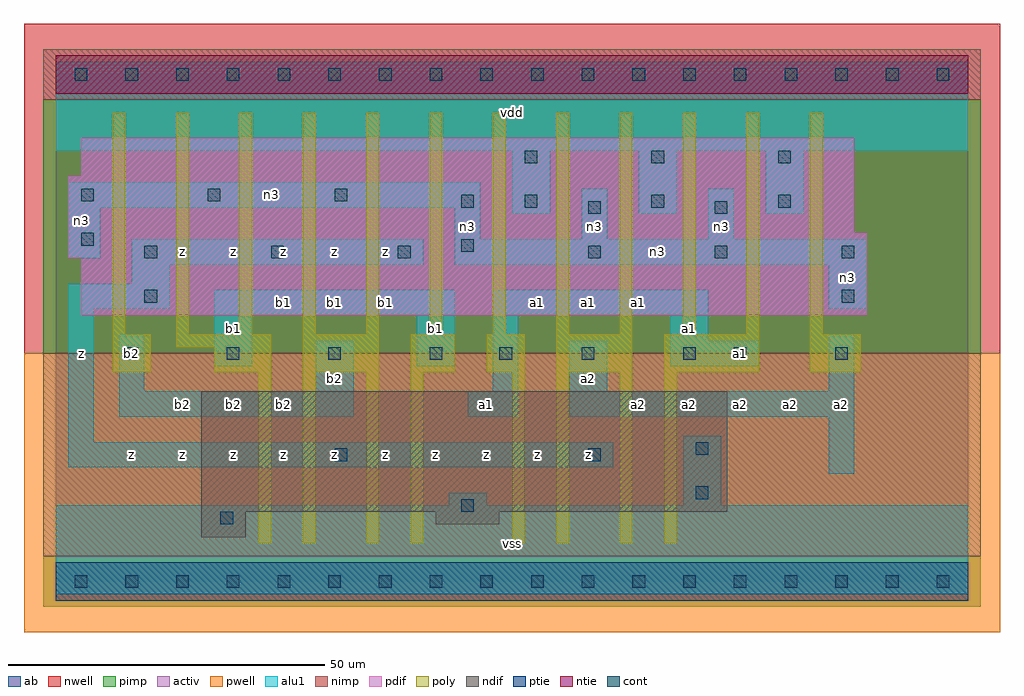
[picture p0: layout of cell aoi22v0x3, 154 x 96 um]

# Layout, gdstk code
import gdstk
lib = gdstk.Library(unit=1e-6, precision=1e-09)
def R(c, l, rs):  # rectangles x0, y0, x1, y1
    for r in rs: c.add(gdstk.rectangle(r[:2], r[2:], *l))
def A(c, l, x, y, w, h, nx, ny, dx, dy):  # array of equal rectangles
    R(c, l, [(x+i*dx, y+j*dy, x+i*dx+w, y+j*dy+h) for i in range(nx) for j in range(ny)])
ndif = (3, 0)
pdif = (4, 0)
ntie = (5, 0)
ptie = (6, 0)
cont = (25, 0)
pwell = (41, 0)
nwell = (42, 0)
activ = (43, 0)
pimp = (44, 0)
nimp = (45, 0)
poly = (46, 0)
alu1 = (49, 0)
ab = (63, 0)

aoi22v0x3 = lib.new_cell('aoi22v0x3')
R(aoi22v0x3, ndif, [(23,7,30,11), (60,9,70,11), (23,11,106,30)])
R(aoi22v0x3, pdif, [(4,42,128,51), (2,51,128,55), (2,55,126,64), (4,64,126,70)])
R(aoi22v0x3, ntie, [(0,77,144,83)])
R(aoi22v0x3, ptie, [(0,-3,144,3)])
A(aoi22v0x3, cont, 3, -1, 2, 2, 18, 2, 8, 80)
A(aoi22v0x3, cont, 11, 35, 2, 2, 4, 1, 16, 0)
A(aoi22v0x3, cont, 14, 51, 2, 2, 3, 1, 20, 0)
A(aoi22v0x3, cont, 84, 51, 2, 2, 3, 1, 20, 0)
A(aoi22v0x3, cont, 74, 59, 2, 2, 3, 2, 20, 7)
A(aoi22v0x3, cont, 4, 60, 2, 2, 3, 1, 20, 0)
R(aoi22v0x3, cont, [(26,9,28,11), (64,11,66,13), (101,13,103,15), (44,19,46,21), (84,19,86,21), (101,20,103,22), (70,35,72,37), (83,35,85,37), (99,35,101,37), (107,35,109,37), (123,35,125,37), (14,44,16,46), (124,44,126,46), (64,52,66,54), (4,53,6,55), (84,58,86,60), (104,58,106,60), (64,59,66,61)])
R(aoi22v0x3, pwell, [(-5,-8,149,36)])
R(aoi22v0x3, nwell, [(-5,36,149,88)])
R(aoi22v0x3, activ, [(0,-3,144,3), (23,7,30,11), (60,9,70,11), (23,11,106,30), (4,42,128,51), (2,51,128,55), (2,55,126,64), (4,64,126,70), (0,77,144,83)])
R(aoi22v0x3, pimp, [(-2,-4,146,4), (-2,36,146,76)])
R(aoi22v0x3, nimp, [(-2,4,146,36), (-2,76,146,84)])
A(aoi22v0x3, poly, 9, 39, 2, 35, 12, 1, 10, 0)
R(aoi22v0x3, poly, [(32,6,34,33), (39,6,41,33), (49,6,51,33), (56,6,58,33), (72,6,74,33), (79,6,81,33), (89,6,91,33), (96,6,98,33), (9,33,15,39), (25,33,34,37), (39,33,51,39), (56,33,63,39), (68,33,74,39), (79,33,91,39), (96,33,111,39), (119,33,127,39), (19,37,34,39)])
A(aoi22v0x3, alu1, 72, 58, 6, 10, 3, 1, 20, 0)
R(aoi22v0x3, alu1, [(0,-2,144,12), (62,12,68,14), (99,12,105,23), (122,17,126,26), (2,18,88,22), (2,22,6,43), (10,26,47,30), (65,26,73,30), (81,26,126,30), (10,30,14,39), (41,30,47,38), (69,30,73,42), (81,30,87,38), (122,30,126,39), (25,34,31,42), (57,34,63,42), (97,34,111,38), (97,38,103,42), (25,42,63,46), (69,42,103,46), (2,43,18,47), (122,43,128,50), (12,47,18,50), (12,50,58,54), (63,50,128,54), (2,51,7,59), (63,54,67,59), (83,54,87,62), (103,54,107,62), (2,59,67,63), (0,68,144,82)])
R(aoi22v0x3, ab, [(0,0,144,80)])
aoi22v0x3.add(gdstk.Label('n3', (4,57), layer=49, texttype=0))
aoi22v0x3.add(gdstk.Label('n3', (65,56), layer=49, texttype=0))
aoi22v0x3.add(gdstk.Label('n3', (34,61), layer=49, texttype=0))
aoi22v0x3.add(gdstk.Label('n3', (105,56), layer=49, texttype=0))
aoi22v0x3.add(gdstk.Label('n3', (85,56), layer=49, texttype=0))
aoi22v0x3.add(gdstk.Label('n3', (125,48), layer=49, texttype=0))
aoi22v0x3.add(gdstk.Label('n3', (95,52), layer=49, texttype=0))
aoi22v0x3.add(gdstk.Label('z', (12,20), layer=49, texttype=0))
aoi22v0x3.add(gdstk.Label('z', (20,20), layer=49, texttype=0))
aoi22v0x3.add(gdstk.Label('b2', (20,28), layer=49, texttype=0))
aoi22v0x3.add(gdstk.Label('b2', (12,36), layer=49, texttype=0))
aoi22v0x3.add(gdstk.Label('z', (4,36), layer=49, texttype=0))
aoi22v0x3.add(gdstk.Label('z', (20,52), layer=49, texttype=0))
aoi22v0x3.add(gdstk.Label('z', (28,20), layer=49, texttype=0))
aoi22v0x3.add(gdstk.Label('b2', (28,28), layer=49, texttype=0))
aoi22v0x3.add(gdstk.Label('z', (36,20), layer=49, texttype=0))
aoi22v0x3.add(gdstk.Label('b2', (36,28), layer=49, texttype=0))
aoi22v0x3.add(gdstk.Label('z', (44,20), layer=49, texttype=0))
aoi22v0x3.add(gdstk.Label('z', (52,20), layer=49, texttype=0))
aoi22v0x3.add(gdstk.Label('b2', (44,32), layer=49, texttype=0))
aoi22v0x3.add(gdstk.Label('b1', (28,40), layer=49, texttype=0))
aoi22v0x3.add(gdstk.Label('b1', (36,44), layer=49, texttype=0))
aoi22v0x3.add(gdstk.Label('b1', (44,44), layer=49, texttype=0))
aoi22v0x3.add(gdstk.Label('b1', (52,44), layer=49, texttype=0))
aoi22v0x3.add(gdstk.Label('z', (36,52), layer=49, texttype=0))
aoi22v0x3.add(gdstk.Label('z', (44,52), layer=49, texttype=0))
aoi22v0x3.add(gdstk.Label('z', (52,52), layer=49, texttype=0))
aoi22v0x3.add(gdstk.Label('z', (28,52), layer=49, texttype=0))
aoi22v0x3.add(gdstk.Label('vss', (72,6), layer=49, texttype=0))
aoi22v0x3.add(gdstk.Label('z', (60,20), layer=49, texttype=0))
aoi22v0x3.add(gdstk.Label('z', (68,20), layer=49, texttype=0))
aoi22v0x3.add(gdstk.Label('a1', (68,28), layer=49, texttype=0))
aoi22v0x3.add(gdstk.Label('z', (76,20), layer=49, texttype=0))
aoi22v0x3.add(gdstk.Label('z', (84,20), layer=49, texttype=0))
aoi22v0x3.add(gdstk.Label('a2', (84,32), layer=49, texttype=0))
aoi22v0x3.add(gdstk.Label('b1', (60,40), layer=49, texttype=0))
aoi22v0x3.add(gdstk.Label('a1', (76,44), layer=49, texttype=0))
aoi22v0x3.add(gdstk.Label('a1', (84,44), layer=49, texttype=0))
aoi22v0x3.add(gdstk.Label('vdd', (72,74), layer=49, texttype=0))
aoi22v0x3.add(gdstk.Label('a2', (100,28), layer=49, texttype=0))
aoi22v0x3.add(gdstk.Label('a2', (108,28), layer=49, texttype=0))
aoi22v0x3.add(gdstk.Label('a2', (92,28), layer=49, texttype=0))
aoi22v0x3.add(gdstk.Label('a1', (100,40), layer=49, texttype=0))
aoi22v0x3.add(gdstk.Label('a1', (108,36), layer=49, texttype=0))
aoi22v0x3.add(gdstk.Label('a1', (92,44), layer=49, texttype=0))
aoi22v0x3.add(gdstk.Label('a2', (116,28), layer=49, texttype=0))
aoi22v0x3.add(gdstk.Label('a2', (124,28), layer=49, texttype=0))

lib.write_gds('aoi22v0x3.gds')
